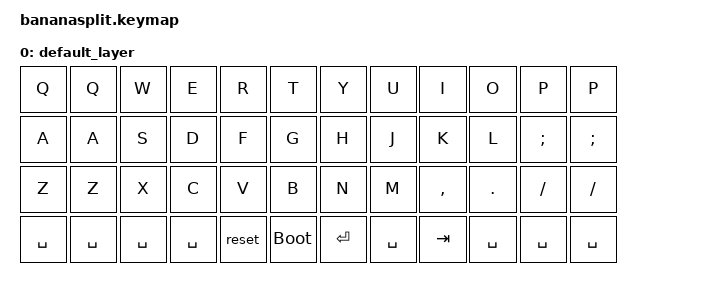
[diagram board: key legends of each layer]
#include <behaviors.dtsi>
#include <dt-bindings/zmk/keys.h>
#include <dt-bindings/zmk/bt.h>
#include <dt-bindings/zmk/outputs.h>

#define DEFAULT 0
#define MAC     1
#define LOWER   2
#define RAISE   3
#define ADJUST  4

#define HYPER(key) LS(LC(LA(LG(key))))
#define MEH(key)   LS(LC(LA(key)))

&sl {
    release-after-ms = <5000>;
};

&kscan0 {
    debounce-press-ms = <30>;
    debounce-release-ms = <30>;
};

/ {
    keymap {
        compatible = "zmk,keymap";

        default_layer {
            bindings = <
   &kp Q      &kp Q     &kp W     &kp E        &kp R       &kp T         &kp Y      &kp U       &kp I     &kp O     &kp P     &kp P   
   &kp A      &kp A     &kp S     &kp D        &kp F       &kp G         &kp H      &kp J       &kp K     &kp L     &kp SEMI  &kp SEMI
   &kp Z      &kp Z     &kp X     &kp C        &kp V       &kp B         &kp N      &kp M       &kp COMMA &kp DOT   &kp FSLH  &kp FSLH
   &kp SPACE  &kp SPACE &kp SPACE &kp SPACE    &reset      &bootloader   &kp RET    &kp SPACE   &kp TAB   &kp SPACE &kp SPACE  &kp SPACE

            >;
        };
             
    };     
};
